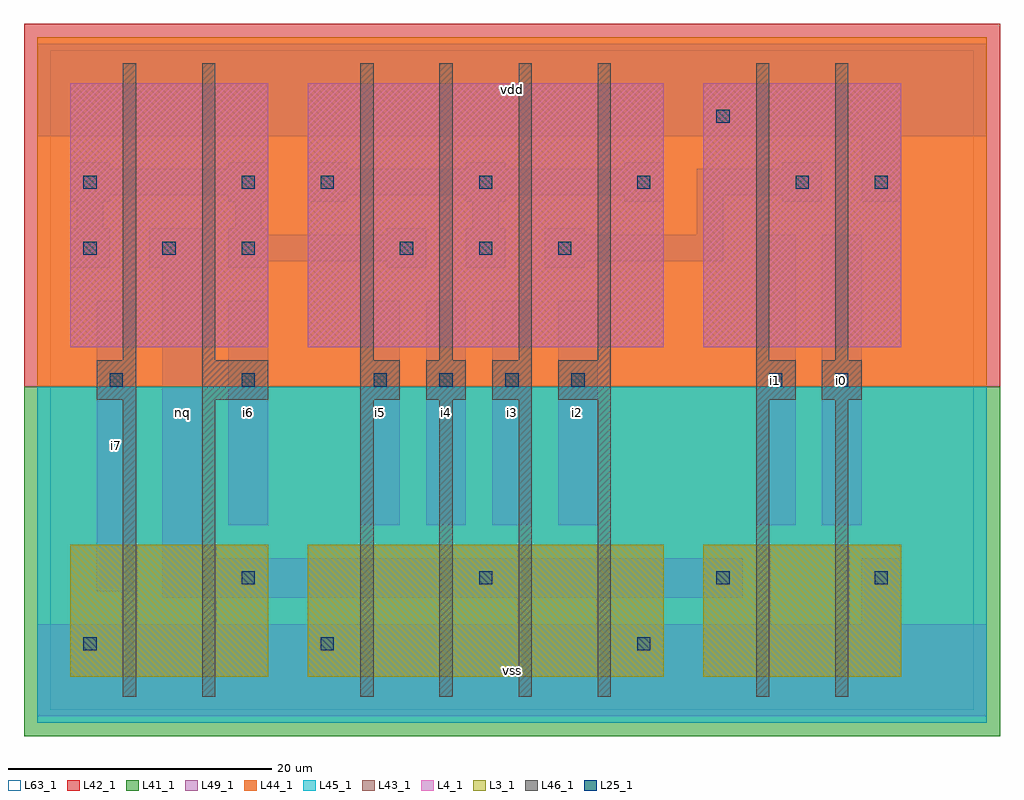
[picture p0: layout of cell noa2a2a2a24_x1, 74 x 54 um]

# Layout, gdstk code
import gdstk
lib = gdstk.Library(unit=1e-6, precision=1e-09)
def R(c, l, rs):  # rectangles x0, y0, x1, y1
    for r in rs: c.add(gdstk.rectangle(r[:2], r[2:], *l))
def A(c, l, x, y, w, h, nx, ny, dx, dy):  # array of equal rectangles
    R(c, l, [(x+i*dx, y+j*dy, x+i*dx+w, y+j*dy+h) for i in range(nx) for j in range(ny)])
L3_1 = (3, 1)
L4_1 = (4, 1)
L25_1 = (25, 1)
L41_1 = (41, 1)
L42_1 = (42, 1)
L43_1 = (43, 1)
L44_1 = (44, 1)
L45_1 = (45, 1)
L46_1 = (46, 1)
L49_1 = (49, 1)
L63_1 = (63, 1)

noa2a2a2a24_x1 = lib.new_cell('noa2a2a2a24_x1')
R(noa2a2a2a24_x1, L3_1, [(1.5,2.5,16.5,12.5), (19.5,2.5,46.5,12.5), (49.5,2.5,64.5,12.5)])
R(noa2a2a2a24_x1, L4_1, [(1.5,27.5,16.5,47.5), (19.5,27.5,46.5,47.5), (49.5,27.5,64.5,47.5)])
A(noa2a2a2a24_x1, L25_1, 14.5, 9.5, 1, 1, 3, 1, 18, 0)
A(noa2a2a2a24_x1, L25_1, 4.5, 24.5, 1, 1, 3, 1, 10, 0)
A(noa2a2a2a24_x1, L25_1, 29.5, 24.5, 1, 1, 3, 1, 5, 0)
A(noa2a2a2a24_x1, L25_1, 2.5, 34.5, 1, 1, 3, 1, 6, 0)
A(noa2a2a2a24_x1, L25_1, 26.5, 34.5, 1, 1, 3, 1, 6, 0)
A(noa2a2a2a24_x1, L25_1, 20.5, 39.5, 1, 1, 4, 1, 12, 0)
R(noa2a2a2a24_x1, L25_1, [(2.5,4.5,3.5,5.5), (20.5,4.5,21.5,5.5), (44.5,4.5,45.5,5.5), (62.5,9.5,63.5,10.5), (54.5,24.5,55.5,25.5), (59.5,24.5,60.5,25.5), (2.5,39.5,3.5,40.5), (14.5,39.5,15.5,40.5), (62.5,39.5,63.5,40.5), (50.5,44.5,51.5,45.5)])
R(noa2a2a2a24_x1, L41_1, [(-2,-2,72,24.5)])
R(noa2a2a2a24_x1, L42_1, [(-2,24.5,72,52)])
R(noa2a2a2a24_x1, L43_1, [(1.5,2.5,16.5,12.5), (19.5,2.5,46.5,12.5), (49.5,2.5,64.5,12.5), (1.5,27.5,16.5,47.5), (19.5,27.5,46.5,47.5), (49.5,27.5,64.5,47.5)])
R(noa2a2a2a24_x1, L44_1, [(-1,24.5,71,51)])
R(noa2a2a2a24_x1, L45_1, [(-1,-1,71,24.5)])
A(noa2a2a2a24_x1, L46_1, 23.5, 1, 1, 22.5, 4, 2, 6, 25.5)
A(noa2a2a2a24_x1, L46_1, 23.5, 23.5, 3, 3, 3, 1, 5, 0)
R(noa2a2a2a24_x1, L46_1, [(5.5,1,6.5,23.5), (11.5,1,12.5,23.5), (53.5,1,54.5,23.5), (59.5,1,60.5,23.5), (3.5,23.5,6.5,26.5), (11.5,23.5,16.5,26.5), (38.5,23.5,42.5,26.5), (53.5,23.5,56.5,26.5), (58.5,23.5,61.5,26.5), (5.5,26.5,6.5,49), (11.5,26.5,12.5,49), (53.5,26.5,54.5,49), (59.5,26.5,60.5,49)])
A(noa2a2a2a24_x1, L49_1, 23.5, 14, 3, 17, 4, 1, 5, 0)
A(noa2a2a2a24_x1, L49_1, 13.5, 33.5, 3, 0.5, 3, 2, 12, 2.5)
A(noa2a2a2a24_x1, L49_1, 19.5, 38.5, 3, 0.5, 4, 2, 12, 2.5)
R(noa2a2a2a24_x1, L49_1, [(-1,-0.5,71,6.5), (61.5,6.5,64.5,11.5), (8.5,8.5,52.5,11.5), (3.5,9,6.5,31), (8.5,11.5,11.5,33.5), (13.5,14,16.5,31), (53.5,14,56.5,36), (58.5,14,61.5,36), (1.5,33.5,4.5,36.5), (7.5,33.5,11.5,36.5), (31.5,33.5,34.5,36.5), (13.5,34,28.5,36), (37.5,34,51,36), (49,36,51,39), (2,36.5,4,38.5), (14,36.5,16,38.5), (32,36.5,34,38.5), (1.5,38.5,4.5,39), (13.5,38.5,16.5,39), (61.5,38.5,64.5,43.5), (1.5,39,16.5,41), (19.5,39,46.5,41), (49,39,58.5,41), (1.5,41,4.5,41.5), (13.5,41,16.5,41.5), (-1,43.5,71,50.5)])
R(noa2a2a2a24_x1, L63_1, [(0,0,70,50)])
noa2a2a2a24_x1.add(gdstk.Label('i7', (5,20), layer=49, texttype=1))
noa2a2a2a24_x1.add(gdstk.Label('i7', (5,20), layer=49, texttype=1))
noa2a2a2a24_x1.add(gdstk.Label('nq', (10,22.5), layer=49, texttype=1))
noa2a2a2a24_x1.add(gdstk.Label('nq', (10,22.5), layer=49, texttype=1))
noa2a2a2a24_x1.add(gdstk.Label('i5', (25,22.5), layer=49, texttype=1))
noa2a2a2a24_x1.add(gdstk.Label('i6', (15,22.5), layer=49, texttype=1))
noa2a2a2a24_x1.add(gdstk.Label('i5', (25,22.5), layer=49, texttype=1))
noa2a2a2a24_x1.add(gdstk.Label('i6', (15,22.5), layer=49, texttype=1))
noa2a2a2a24_x1.add(gdstk.Label('vss', (35,3), layer=49, texttype=1))
noa2a2a2a24_x1.add(gdstk.Label('vss', (35,3), layer=49, texttype=1))
noa2a2a2a24_x1.add(gdstk.Label('i4', (30,22.5), layer=49, texttype=1))
noa2a2a2a24_x1.add(gdstk.Label('i3', (35,22.5), layer=49, texttype=1))
noa2a2a2a24_x1.add(gdstk.Label('i2', (40,22.5), layer=49, texttype=1))
noa2a2a2a24_x1.add(gdstk.Label('i2', (40,22.5), layer=49, texttype=1))
noa2a2a2a24_x1.add(gdstk.Label('i3', (35,22.5), layer=49, texttype=1))
noa2a2a2a24_x1.add(gdstk.Label('i4', (30,22.5), layer=49, texttype=1))
noa2a2a2a24_x1.add(gdstk.Label('vdd', (35,47), layer=49, texttype=1))
noa2a2a2a24_x1.add(gdstk.Label('vdd', (35,47), layer=49, texttype=1))
noa2a2a2a24_x1.add(gdstk.Label('i1', (55,25), layer=49, texttype=1))
noa2a2a2a24_x1.add(gdstk.Label('i1', (55,25), layer=49, texttype=1))
noa2a2a2a24_x1.add(gdstk.Label('i0', (60,25), layer=49, texttype=1))
noa2a2a2a24_x1.add(gdstk.Label('i0', (60,25), layer=49, texttype=1))

lib.write_gds('noa2a2a2a24_x1.gds')
